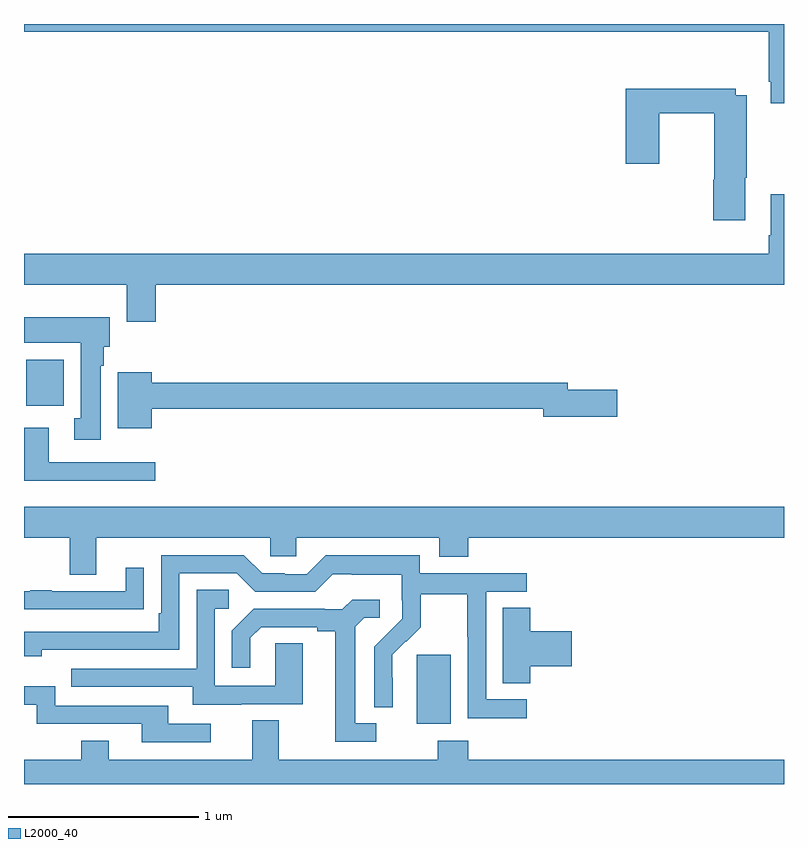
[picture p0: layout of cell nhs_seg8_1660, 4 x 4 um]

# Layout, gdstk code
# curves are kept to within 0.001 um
import gdstk
lib = gdstk.Library(unit=1e-6, precision=1e-09)
def R(c, l, rs):  # rectangles x0, y0, x1, y1
    for r in rs: c.add(gdstk.rectangle(r[:2], r[2:], *l))
def P(c, l, *ps):  # polygons
    for p in ps: c.add(gdstk.Polygon(p, *l))
L2000_40 = (2000, 40)

nhs_seg8_1660 = lib.new_cell('nhs_seg8_1660')
R(nhs_seg8_1660, L2000_40, [(219.068,1086.218,219.247,1086.579), (217.013,1087.892,217.21,1088.134)])
P(nhs_seg8_1660, L2000_40, [(221,1089.9),(217,1089.9),(217,1089.86),(220.919,1089.86),(220.919,1089.595),(220.931,1089.595),(220.931,1089.483),(221,1089.483)],
  [(220.795,1089.091),(220.803,1089.091),(220.803,1089.526),(220.746,1089.526),(220.746,1089.559),(220.166,1089.559),(220.166,1089.165),(220.344,1089.165),(220.344,1089.43),(220.633,1089.43),(220.633,1089.08),(220.628,1089.08),(220.628,1088.868),(220.795,1088.868)],
  [(217.694,1088.528),(221,1088.528),(221,1089.004),(220.931,1089.004),(220.931,1088.788),(220.919,1088.788),(220.919,1088.692),(217,1088.692),(217,1088.528),(217.541,1088.528),(217.541,1088.334),(217.694,1088.334)],
  [(217.405,1088.102),(217.42,1088.102),(217.42,1088.202),(217.45,1088.202),(217.45,1088.356),(217,1088.356),(217,1088.222),(217.298,1088.222),(217.298,1087.826),(217.265,1087.826),(217.265,1087.713),(217.405,1087.713)],
  [(217.672,1087.876),(219.734,1087.876),(219.734,1087.834),(220.123,1087.834),(220.123,1087.976),(219.862,1087.976),(219.862,1088.012),(217.672,1088.012),(217.672,1088.068),(217.493,1088.068),(217.493,1087.772),(217.672,1087.772)],
  [(217.69,1087.593),(217.129,1087.593),(217.129,1087.774),(217,1087.774),(217,1087.496),(217.69,1087.496)],
  [(217.381,1087.196),(218.295,1087.196),(218.295,1087.098),(218.433,1087.098),(218.433,1087.196),(219.185,1087.196),(219.185,1087.097),(219.338,1087.097),(219.338,1087.196),(221,1087.196),(221,1087.36),(217,1087.36),(217,1087.196),(217.241,1087.196),(217.241,1087.002),(217.381,1087.002)],
  [(219.646,1086.345),(219.432,1086.345),(219.432,1086.912),(219.646,1086.912),(219.646,1087.008),(219.084,1087.008),(219.084,1087.105),(218.587,1087.105),(218.487,1087.005),(218.372,1087.005),(218.372,1087.008),(218.253,1087.008),(218.157,1087.104),(217.722,1087.104),(217.722,1086.799),(217.709,1086.799),(217.709,1086.702),(217,1086.702),(217,1086.572),(217.094,1086.572),(217.094,1086.606),(217.818,1086.606),(217.818,1087.008),(218.121,1087.008),(218.217,1086.912),(218.532,1086.912),(218.625,1087.005),(218.725,1087.005),(218.725,1087.001),(218.988,1087.001),(218.988,1086.867),(218.99,1086.867),(218.99,1086.77),(218.844,1086.622),(218.844,1086.304),(218.94,1086.304),(218.939,1086.581),(219.009,1086.651),(219.012,1086.648),(219.089,1086.725),(219.089,1086.9),(219.334,1086.9),(219.334,1086.676),(219.336,1086.676),(219.336,1086.247),(219.646,1086.247)],
  [(217.529,1086.82),(217.631,1086.82),(217.631,1087.039),(217.535,1087.039),(217.535,1086.915),(217.145,1086.915),(217.145,1086.92),(217.033,1086.92),(217.033,1086.915),(217,1086.915),(217,1086.819),(217.529,1086.819)],
  [(218.143,1086.321),(218.467,1086.321),(218.467,1086.641),(218.322,1086.641),(218.322,1086.417),(218.004,1086.417),(218.004,1086.822),(218.077,1086.822),(218.077,1086.923),(217.908,1086.923),(217.908,1086.507),(217.249,1086.507),(217.249,1086.411),(217.889,1086.411),(217.889,1086.317),(218.143,1086.317)],
  [(218.854,1086.219),(218.743,1086.219),(218.743,1086.727),(218.79,1086.774),(218.872,1086.774),(218.872,1086.871),(218.728,1086.871),(218.676,1086.819),(218.582,1086.819),(218.582,1086.822),(218.21,1086.822),(218.094,1086.706),(218.094,1086.513),(218.191,1086.513),(218.191,1086.669),(218.248,1086.726),(218.543,1086.726),(218.543,1086.704),(218.639,1086.704),(218.639,1086.123),(218.854,1086.123)],
  [(219.665,1086.521),(219.883,1086.521),(219.883,1086.704),(219.665,1086.704),(219.665,1086.827),(219.521,1086.827),(219.521,1086.43),(219.665,1086.43)],
  [(217.984,1086.216),(217.759,1086.216),(217.759,1086.312),(217.164,1086.312),(217.164,1086.415),(217,1086.415),(217,1086.318),(217.068,1086.318),(217.068,1086.216),(217.619,1086.216),(217.619,1086.12),(217.984,1086.12)],
  [(221,1086.028),(219.338,1086.028),(219.338,1086.127),(219.178,1086.127),(219.178,1086.028),(218.341,1086.028),(218.341,1086.236),(218.201,1086.236),(218.201,1086.028),(217.447,1086.028),(217.447,1086.127),(217.3,1086.127),(217.3,1086.028),(217,1086.028),(217,1085.9),(221,1085.9)])

lib.write_gds('nhs_seg8_1660.gds')
